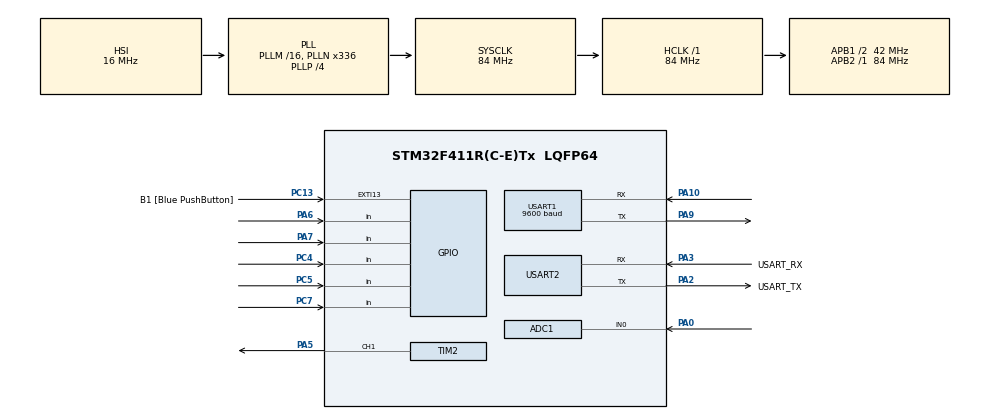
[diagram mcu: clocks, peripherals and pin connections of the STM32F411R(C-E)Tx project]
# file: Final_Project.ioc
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ADC1.Channel-2\#ChannelRegularConversion=ADC_CHANNEL_0
ADC1.NbrOfConversionFlag=1
ADC1.Rank-2\#ChannelRegularConversion=1
ADC1.SamplingTime-2\#ChannelRegularConversion=ADC_SAMPLETIME_3CYCLES
ADC1.master=1
Mcu.Family=STM32F4
Mcu.Name=STM32F411R(C-E)Tx
Mcu.Package=LQFP64
NVIC.PriorityGroup=NVIC_PRIORITYGROUP_0
PA0-WKUP.Signal=ADCx_IN0
PA10.Mode=Asynchronous
PA10.Signal=USART1_RX
PA13.GPIO_Label=TMS
PA13.Mode=Serial_Wire
PA13.Signal=SYS_JTMS-SWDIO
PA14.GPIO_Label=TCK
PA14.Mode=Serial_Wire
PA14.Signal=SYS_JTCK-SWCLK
PA2.GPIO_Label=USART_TX
PA2.Mode=Asynchronous
PA2.Signal=USART2_TX
PA3.GPIO_Label=USART_RX
PA3.Mode=Asynchronous
PA3.Signal=USART2_RX
PA5.Signal=S_TIM2_CH1_ETR
PA6.Signal=GPIO_Input
PA7.Signal=GPIO_Input
PA9.Mode=Asynchronous
PA9.Signal=USART1_TX
PB3.GPIO_Label=SWO
PB3.Signal=SYS_JTDO-SWO
PC13-ANTI_TAMP.GPIO_Label=B1 [Blue PushButton]
PC13-ANTI_TAMP.GPIO_ModeDefaultEXTI=GPIO_MODE_IT_FALLING
PC13-ANTI_TAMP.Signal=GPXTI13
PC14-OSC32_IN.Mode=LSE-External-Oscillator
PC14-OSC32_IN.Signal=RCC_OSC32_IN
PC15-OSC32_OUT.Mode=LSE-External-Oscillator
PC15-OSC32_OUT.Signal=RCC_OSC32_OUT
PC4.Signal=GPIO_Input
PC5.Signal=GPIO_Input
PC7.Signal=GPIO_Input
PH0\ -\ OSC_IN.Mode=HSE-External-Clock-Source
PH0\ -\ OSC_IN.Signal=RCC_OSC_IN
PH1\ -\ OSC_OUT.Mode=HSE-External-Clock-Source
PH1\ -\ OSC_OUT.Signal=RCC_OSC_OUT
ProjectManager.HeapSize=0x200
ProjectManager.StackSize=0x400
ProjectManager.TargetToolchain=STM32CubeIDE
RCC.48MHZClocksFreq_Value=84000000
RCC.AHBFreq_Value=84000000
RCC.APB1CLKDivider=RCC_HCLK_DIV2
RCC.APB1Freq_Value=42000000
RCC.APB1TimFreq_Value=84000000
RCC.APB2Freq_Value=84000000
RCC.APB2TimFreq_Value=84000000
RCC.CortexFreq_Value=84000000
RCC.FLatency-AdvancedSettings=FLASH_LATENCY_2
RCC.HCLKFreq_Value=84000000
RCC.HSE_VALUE=8000000
RCC.HSI_VALUE=16000000
RCC.PLLN=336
RCC.PLLP=RCC_PLLP_DIV4
RCC.SYSCLKFreq_VALUE=84000000
RCC.SYSCLKSource=RCC_SYSCLKSOURCE_PLLCLK
RCC.VCOOutputFreq_Value=336000000
SH.ADCx_IN0.0=ADC1_IN0,IN0
SH.S_TIM2_CH1_ETR.0=TIM2_CH1,PWM Generation1 CH1
TIM2.Channel-PWM\ Generation1\ CH1=TIM_CHANNEL_1
TIM2.Period=83
TIM2.Prescaler=99
USART1.BaudRate=9600
USART1.VirtualMode=VM_ASYNC
USART2.VirtualMode=VM_ASYNC
board=NUCLEO-F411RE

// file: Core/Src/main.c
/* USER CODE BEGIN Header */
/**
 ******************************************************************************
 * @file           : main.c
 * @brief          : Main program body
 ******************************************************************************
 * @attention
 *
 * Copyright (c) 2024 STMicroelectronics.
 * All rights reserved.
 *
 * This software is licensed under terms that can be found in the LICENSE file
 * in the root directory of this software component.
 * If no LICENSE file comes with this software, it is provided AS-IS.
 *
 ******************************************************************************
 */
/* USER CODE END Header */
#include "main.h"

/* USER CODE BEGIN Includes */
#include "DHT.h"
/* USER CODE END Includes */

ADC_HandleTypeDef hadc1;

TIM_HandleTypeDef htim2;

UART_HandleTypeDef huart1;
UART_HandleTypeDef huart2;

void SystemClock_Config(void);
static void MX_GPIO_Init(void);
static void MX_USART2_UART_Init(void);
static void MX_ADC1_Init(void);
static void MX_TIM2_Init(void);
static void MX_USART1_UART_Init(void);
/* USER CODE BEGIN PFP */
DHT_DataTypedef DHT22_Data;
float Temperature, Humidity;
/* USER CODE END PFP */

/* USER CODE BEGIN 0 */
// Read data from DHT22 sensor
/* USER CODE END 0 */

int main(void)
{

  /* MCU Configuration--------------------------------------------------------*/

  /* Reset of all peripherals, Initializes the Flash interface and the Systick. */
  HAL_Init();

  /* Configure the system clock */
  SystemClock_Config();

  /* Initialize all configured peripherals */
  MX_GPIO_Init();
  MX_USART2_UART_Init();
  MX_ADC1_Init();
  MX_TIM2_Init();
  MX_USART1_UART_Init();
  /* USER CODE BEGIN 2 */
	HAL_TIM_PWM_Start(&htim2, TIM_CHANNEL_1);
	TIM2->CCR1 = 50;
	int adcval = 0;
	char buf[256];
	int percent_seat = 0;
  /* USER CODE END 2 */

  /* Infinite loop */
  /* USER CODE BEGIN WHILE */
	while (1) {
//		char receiveBuffer[16];
//		if (HAL_UART_Receive(&huart6, (uint8_t*) receiveBuffer,sizeof(receiveBuffer) - 1, HAL_MAX_DELAY) == HAL_OK) {
//			// Null-terminate the received string
//			receiveBuffer[sizeof(receiveBuffer) - 1] = '\0';
//
//			// Process received data (for example, parse the temperature and humidity)
//			float Temperature, Humidity;
//			sscanf(receiveBuffer, "%f,%f", &Temperature, &Humidity);
//			char check[50];
//			sprintf(check, "Temperature: %.2f C, Humidity: %.2f%%\r\n", Temperature, Humidity);
//
//			// Print the received data via UART2
//			 HAL_UART_Transmit(&huart2, (uint8_t*) check,strlen(check), 100);
//			 HAL_Delay(3000);
//			// Optionally: Use the data (for example, print it or control some peripherals)
//		}
		int val1 = 0, val2 = 0, val3 = 0, val4 = 0;
		HAL_ADC_Start(&hadc1);
		if (HAL_ADC_PollForConversion(&hadc1, 1000) == HAL_OK) {
			adcval = HAL_ADC_GetValue(&hadc1);
//			sprintf(buf,"%d\r\n",adcval);
//			HAL_UART_Transmit(&huart2, buf, strlen(buf), 100);
		}
		if (adcval > 1000)
			TIM2->CCR1 = 0;
		else
			TIM2->CCR1 = 100;
		if (HAL_GPIO_ReadPin(GPIOA, GPIO_PIN_6) == GPIO_PIN_SET)
			val1 = 1;
		if (HAL_GPIO_ReadPin(GPIOA, GPIO_PIN_7) == GPIO_PIN_SET)
			val2 = 1;
		if (HAL_GPIO_ReadPin(GPIOA, GPIO_PIN_8) == GPIO_PIN_SET)
			val3 = 1;
		if (HAL_GPIO_ReadPin(GPIOC, GPIO_PIN_7) == GPIO_PIN_SET)
			val4 = 1;
		if (HAL_GPIO_ReadPin(GPIOA, GPIO_PIN_6) == GPIO_PIN_RESET)
			val1 = 0;
		if (HAL_GPIO_ReadPin(GPIOA, GPIO_PIN_7) == GPIO_PIN_RESET)
			val2 = 0;
		if (HAL_GPIO_ReadPin(GPIOA, GPIO_PIN_8) == GPIO_PIN_RESET)
			val3 = 0;
		if (HAL_GPIO_ReadPin(GPIOC, GPIO_PIN_7) == GPIO_PIN_RESET)
			val4 = 0;

		int c = 0;
		int tot = 100 - (val1 + val2 + val3 + val4) * 25;
		if (tot == 100) c = 1;
		if (tot == 0) c = 2;
		if (c == 1) sprintf(buf,"%d%\r\n",tot);
		else if (c == 2) sprintf(buf,"  %d%\r\n",tot);
		else sprintf(buf," %d%\r\n",tot);
		HAL_UART_Transmit(&huart2, buf, strlen(buf), 1000);
		HAL_UART_Transmit(&huart1, buf, strlen(buf), 1000);
		HAL_Delay(500);

    /* USER CODE END WHILE */

	}
}

void SystemClock_Config(void)
{
  RCC_OscInitTypeDef RCC_OscInitStruct = {0};
  RCC_ClkInitTypeDef RCC_ClkInitStruct = {0};

  /** Configure the main internal regulator output voltage
  */
  __HAL_RCC_PWR_CLK_ENABLE();
  __HAL_PWR_VOLTAGESCALING_CONFIG(PWR_REGULATOR_VOLTAGE_SCALE1);

  /** Initializes the RCC Oscillators according to the specified parameters
  * in the RCC_OscInitTypeDef structure.
  */
  RCC_OscInitStruct.OscillatorType = RCC_OSCILLATORTYPE_HSI;
  RCC_OscInitStruct.HSIState = RCC_HSI_ON;
  RCC_OscInitStruct.HSICalibrationValue = RCC_HSICALIBRATION_DEFAULT;
  RCC_OscInitStruct.PLL.PLLState = RCC_PLL_ON;
  RCC_OscInitStruct.PLL.PLLSource = RCC_PLLSOURCE_HSI;
  RCC_OscInitStruct.PLL.PLLM = 16;
  RCC_OscInitStruct.PLL.PLLN = 336;
  RCC_OscInitStruct.PLL.PLLP = RCC_PLLP_DIV4;
  RCC_OscInitStruct.PLL.PLLQ = 4;
  if (HAL_RCC_OscConfig(&RCC_OscInitStruct) != HAL_OK)
  {
    Error_Handler();
  }

  /** Initializes the CPU, AHB and APB buses clocks
  */
  RCC_ClkInitStruct.ClockType = RCC_CLOCKTYPE_HCLK|RCC_CLOCKTYPE_SYSCLK
                              |RCC_CLOCKTYPE_PCLK1|RCC_CLOCKTYPE_PCLK2;
  RCC_ClkInitStruct.SYSCLKSource = RCC_SYSCLKSOURCE_PLLCLK;
  RCC_ClkInitStruct.AHBCLKDivider = RCC_SYSCLK_DIV1;
  RCC_ClkInitStruct.APB1CLKDivider = RCC_HCLK_DIV2;
  RCC_ClkInitStruct.APB2CLKDivider = RCC_HCLK_DIV1;

  if (HAL_RCC_ClockConfig(&RCC_ClkInitStruct, FLASH_LATENCY_2) != HAL_OK)
  {
    Error_Handler();
  }
}

static void MX_ADC1_Init(void)
{

  ADC_ChannelConfTypeDef sConfig = {0};

  /** Configure the global features of the ADC (Clock, Resolution, Data Alignment and number of conversion)
  */
  hadc1.Instance = ADC1;
  hadc1.Init.ClockPrescaler = ADC_CLOCK_SYNC_PCLK_DIV4;
  hadc1.Init.Resolution = ADC_RESOLUTION_12B;
  hadc1.Init.ScanConvMode = DISABLE;
  hadc1.Init.ContinuousConvMode = DISABLE;
  hadc1.Init.DiscontinuousConvMode = DISABLE;
  hadc1.Init.ExternalTrigConvEdge = ADC_EXTERNALTRIGCONVEDGE_NONE;
  hadc1.Init.ExternalTrigConv = ADC_SOFTWARE_START;
  hadc1.Init.DataAlign = ADC_DATAALIGN_RIGHT;
  hadc1.Init.NbrOfConversion = 1;
  hadc1.Init.DMAContinuousRequests = DISABLE;
  hadc1.Init.EOCSelection = ADC_EOC_SINGLE_CONV;
  if (HAL_ADC_Init(&hadc1) != HAL_OK)
  {
    Error_Handler();
  }

  /** Configure for the selected ADC regular channel its corresponding rank in the sequencer and its sample time.
  */
  sConfig.Channel = ADC_CHANNEL_0;
  sConfig.Rank = 1;
  sConfig.SamplingTime = ADC_SAMPLETIME_3CYCLES;
  if (HAL_ADC_ConfigChannel(&hadc1, &sConfig) != HAL_OK)
  {
    Error_Handler();
  }

}

static void MX_TIM2_Init(void)
{

  TIM_MasterConfigTypeDef sMasterConfig = {0};
  TIM_OC_InitTypeDef sConfigOC = {0};

  htim2.Instance = TIM2;
  htim2.Init.Prescaler = 99;
  htim2.Init.CounterMode = TIM_COUNTERMODE_UP;
  htim2.Init.Period = 83;
  htim2.Init.ClockDivision = TIM_CLOCKDIVISION_DIV1;
  htim2.Init.AutoReloadPreload = TIM_AUTORELOAD_PRELOAD_DISABLE;
  if (HAL_TIM_PWM_Init(&htim2) != HAL_OK)
  {
    Error_Handler();
  }
  sMasterConfig.MasterOutputTrigger = TIM_TRGO_RESET;
  sMasterConfig.MasterSlaveMode = TIM_MASTERSLAVEMODE_DISABLE;
  if (HAL_TIMEx_MasterConfigSynchronization(&htim2, &sMasterConfig) != HAL_OK)
  {
    Error_Handler();
  }
  sConfigOC.OCMode = TIM_OCMODE_PWM1;
  sConfigOC.Pulse = 0;
  sConfigOC.OCPolarity = TIM_OCPOLARITY_HIGH;
  sConfigOC.OCFastMode = TIM_OCFAST_DISABLE;
  if (HAL_TIM_PWM_ConfigChannel(&htim2, &sConfigOC, TIM_CHANNEL_1) != HAL_OK)
  {
    Error_Handler();
  }
  HAL_TIM_MspPostInit(&htim2);

}

static void MX_USART1_UART_Init(void)
{

  huart1.Instance = USART1;
  huart1.Init.BaudRate = 9600;
  huart1.Init.WordLength = UART_WORDLENGTH_8B;
  huart1.Init.StopBits = UART_STOPBITS_1;
  huart1.Init.Parity = UART_PARITY_NONE;
  huart1.Init.Mode = UART_MODE_TX_RX;
  huart1.Init.HwFlowCtl = UART_HWCONTROL_NONE;
  huart1.Init.OverSampling = UART_OVERSAMPLING_16;
  if (HAL_UART_Init(&huart1) != HAL_OK)
  {
    Error_Handler();
  }

}

static void MX_USART2_UART_Init(void)
{

  huart2.Instance = USART2;
  huart2.Init.BaudRate = 115200;
  huart2.Init.WordLength = UART_WORDLENGTH_8B;
  huart2.Init.StopBits = UART_STOPBITS_1;
  huart2.Init.Parity = UART_PARITY_NONE;
  huart2.Init.Mode = UART_MODE_TX_RX;
  huart2.Init.HwFlowCtl = UART_HWCONTROL_NONE;
  huart2.Init.OverSampling = UART_OVERSAMPLING_16;
  if (HAL_UART_Init(&huart2) != HAL_OK)
  {
    Error_Handler();
  }

}

static void MX_GPIO_Init(void)
{
  GPIO_InitTypeDef GPIO_InitStruct = {0};

  /* GPIO Ports Clock Enable */
  __HAL_RCC_GPIOC_CLK_ENABLE();
  __HAL_RCC_GPIOH_CLK_ENABLE();
  __HAL_RCC_GPIOA_CLK_ENABLE();
  __HAL_RCC_GPIOB_CLK_ENABLE();

  /*Configure GPIO pin : B1_Pin */
  GPIO_InitStruct.Pin = B1_Pin;
  GPIO_InitStruct.Mode = GPIO_MODE_IT_FALLING;
  GPIO_InitStruct.Pull = GPIO_NOPULL;
  HAL_GPIO_Init(B1_GPIO_Port, &GPIO_InitStruct);

  /*Configure GPIO pins : PA6 PA7 */
  GPIO_InitStruct.Pin = GPIO_PIN_6|GPIO_PIN_7;
  GPIO_InitStruct.Mode = GPIO_MODE_INPUT;
  GPIO_InitStruct.Pull = GPIO_NOPULL;
  HAL_GPIO_Init(GPIOA, &GPIO_InitStruct);

  /*Configure GPIO pins : PC4 PC5 PC7 */
  GPIO_InitStruct.Pin = GPIO_PIN_4|GPIO_PIN_5|GPIO_PIN_7;
  GPIO_InitStruct.Mode = GPIO_MODE_INPUT;
  GPIO_InitStruct.Pull = GPIO_NOPULL;
  HAL_GPIO_Init(GPIOC, &GPIO_InitStruct);

}

void Error_Handler(void)
{
	__disable_irq();
	while (1) {
	}
}
